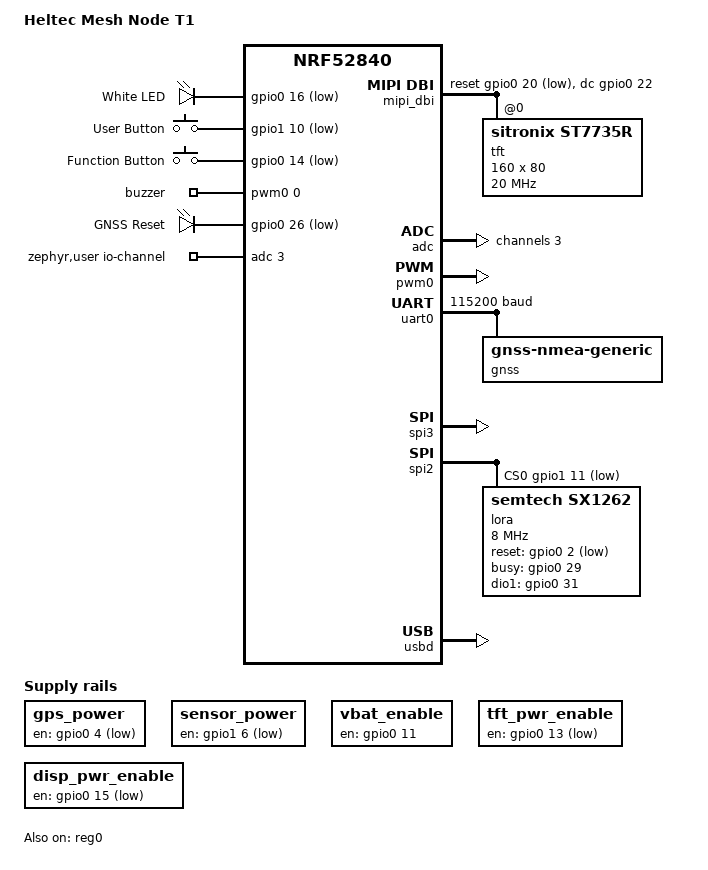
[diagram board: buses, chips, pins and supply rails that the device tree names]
/*
 * Heltec Mesh Node T1 - nRF52840 + SX1262 + UC6580 GNSS
 * Copyright (c) 2026 ZephCore
 *
 * SPDX-License-Identifier: MIT
 *
 * Every net named below is taken from the official Heltec
 * "Mesh_Node_T1_V1.0" schematic (resource.heltec.cn), cross-checked against
 * the "Mesh Node T1 Wireless Position Tag" datasheet Rev 1.0.0 and the
 * component datasheets for the parts the nets land on (ST7735S panel spec
 * N096-1608TBBIG09-C08, Diodes PAM8904, Semtech SX1262).  Where the two
 * Heltec documents disagree the schematic wins; the two places where that
 * happens are called out at the nodes concerned.
 */

/dts-v1/;
#include <nordic/nrf52840_qiaa.dtsi>
#include <zephyr/dt-bindings/lora/sx126x.h>
#include <zephyr/dt-bindings/adc/nrf-saadc.h>
#include <zephyr/dt-bindings/input/input-event-codes.h>
#include <zephyr/dt-bindings/pwm/pwm.h>
#include "heltec_t1_nrf52840-pinctrl.dtsi"

/ {
	model = "Heltec Mesh Node T1";
	compatible = "heltec,t1";

	chosen {
		zephyr,sram = &sram0;
		zephyr,flash = &flash0;
		zephyr,code-partition = &code_partition;
		zephyr,console = &cdc_acm_uart;
		zephyr,shell-uart = &cdc_acm_uart;
		zephyr,display = &mono_tft;
		zephcore,gps-power = &gps_power;
	};

	aliases {
		led0 = &led_white;
		lora-tx-led = &led_white;
		sw0 = &user_button;
		lora0 = &lora;
		watchdog0 = &wdt0;
		gps-reset = &gps_reset_pin;
		display0 = &tft;
		buzzer = &buzzer;
	};

	leds {
		compatible = "gpio-leds";

		/*
		 * Schematic net LED: P0.16 -> R56 1K -> gate of Q10 (AO3401A,
		 * P-channel, source on VDD_3V3), drain -> R30 330R -> LED2
		 * (white) -> GND.  Pulling the gate low turns the FET on, so
		 * the LED is active-LOW.
		 *
		 * The datasheet's "2.2 LED" table instead says the white LED is
		 * on P0.09.  That is wrong - P0.09 is the PAM8904 DIN (buzzer);
		 * the schematic, and every vendor firmware, put the LED on
		 * P0.16.
		 *
		 * Caveat for anyone chasing a boot-time glow: unlike the
		 * backlight FET, Q10's gate has no pull-up to its source, only
		 * R57 10M to ground.  While P0.16 is still an input the gate
		 * sits near 0 V and the LED is lit.  gpio-leds drives it
		 * inactive at init, which closes the window but does not remove
		 * it.
		 */
		led_white: led_0 {
			gpios = <&gpio0 16 GPIO_ACTIVE_LOW>;
			label = "White LED";
		};
	};

	buttons: buttons {
		compatible = "gpio-keys";

		/*
		 * Schematic S3 (silkscreen "User2"), net Button: P1.10 to GND,
		 * R8 10K pull-up to VDD_nRF, C8 0.1uF debounce.  The datasheet
		 * calls this one "Button1 / USER key".
		 */
		user_button: button_0 {
			gpios = <&gpio1 10 (GPIO_PULL_UP | GPIO_ACTIVE_LOW)>;
			zephyr,code = <INPUT_KEY_0>;
			label = "User Button";
		};

		/*
		 * Schematic S2 (silkscreen "User1"), net User: P0.14 to GND,
		 * R20 10K pull-up to VDD_3V3, C15 0.1uF debounce.  The
		 * datasheet calls this one "Button2 / Function key".
		 *
		 * Wired straight to KEY_LEFT: with two buttons the T1 can do
		 * page-previous, which the single-button Heltec boards cannot.
		 */
		page_prev_button: button_1 {
			gpios = <&gpio0 14 (GPIO_PULL_UP | GPIO_ACTIVE_LOW)>;
			zephyr,code = <INPUT_KEY_LEFT>;
			label = "Function Button";
		};
	};

	/* Input filter: user button long-press detection (1000ms) */
	user_btn_longpress: user_btn_longpress {
		compatible = "zephyr,input-longpress";
		input = <&buttons>;
		input-codes = <INPUT_KEY_0>;
		short-codes = <INPUT_KEY_A>;
		long-codes = <INPUT_KEY_ENTER>;
		long-delay-ms = <1000>;
	};

	/*
	 * Input filter: user button multi-tap detection.  Stock ladder - the
	 * T1 has a real buzzer, so the 3-tap notification-mode slot is live
	 * here (unlike T096, where it was compiled out and had to be dropped).
	 *
	 *   1 tap  (400ms wait) → KEY_1 = page next
	 *   2 taps (400ms wait) → KEY_B = LED heartbeat toggle
	 *   3 taps (400ms wait) → KEY_D = notification mode
	 *   4 taps (400ms wait) → KEY_C = GPS on/off
	 *   5 taps (immediate)  → KEY_E = flood advert
	 */
	user_btn_multitap {
		compatible = "zephcore,input-multi-tap";
		/* No 'input' phandle - KEY_A comes from the longpress
		 * pseudo-device, not from &buttons. */
		input-codes = <INPUT_KEY_A>;
		tap-codes = <INPUT_KEY_1 INPUT_KEY_B INPUT_KEY_D INPUT_KEY_C INPUT_KEY_E>;
		tap-delay-ms = <400>;
	};

	/*
	 * Schematic net DIN: P0.09 -> R24 0R -> PAM8904 (U3) pin 3.
	 *
	 * U3 is a charge-pump piezo driver, not a plain transistor: it drives
	 * the element differentially from VO1/VO2 through R14/R18 100R.  From
	 * the MCU's side it is still just a tone input - PAM8904 datasheet
	 * p.5 has the part idle at under 1uA whenever DIN is low, and
	 * auto-sleep 42ms after DIN stops toggling, so no enable sequencing is
	 * needed.
	 *
	 * P0.09 is NFC1.  See the &uicr node at the bottom of this file.
	 *
	 * The charge-pump multiplier pins EN1 (P1.02) and EN2 (P1.05) are
	 * deliberately left unconfigured: both carry 10K pull-ups to VDD_3V3,
	 * which selects 3x mode (7.2-9V out, the loudest setting) with no
	 * firmware involvement.  Driving them would only ever make the buzzer
	 * quieter, so they are documented in the README as a future volume
	 * control rather than claimed here.
	 */
	pwmbuzzer {
		compatible = "pwm-leds";
		buzzer: buzzer {
			pwms = <&pwm0 0 PWM_MSEC(20) PWM_POLARITY_NORMAL>;
		};
	};

	/*
	 * Schematic net VGNSS_Ctrl: P0.04 -> R32 1K -> gate of Q5 (AO3401A,
	 * P-channel, source on VDD_3V3, R54 10K gate pull-up), drain feeds
	 * VDD_GNSS.  Active-LOW, and off at reset while the pin is an input.
	 */
	gps_power: gps-power {
		compatible = "regulator-fixed";
		regulator-name = "gps-power";
		enable-gpios = <&gpio0 4 GPIO_ACTIVE_LOW>;
		regulator-boot-on;
		/* The module's requirement. It runs at boot (Zephyr 3b4821f1ba6,
		 * pinned from 1.17.5; it was skipped before), but nothing here
		 * depends on it: gnss-nmea-generic never
		 * probes the receiver — it attaches a UART and parses whatever
		 * arrives, so an unpowered module means no sentences yet, not a
		 * failed init. ZephyrGPSManager owns the rail at runtime via
		 * chosen { zephcore,gps-power }. */
		startup-delay-us = <10000>;
	};

	/* Schematic net GNSS_RST: P0.26 -> UC6580 pin 17 (RESETN), active-LOW,
	 * R37 10K pull-up to VDD_GNSS and C90 0.1uF. */
	gps_rst: gps-reset {
		compatible = "gpio-leds";
		gps_reset_pin: gps_reset {
			gpios = <&gpio0 26 GPIO_ACTIVE_LOW>;
			label = "GNSS Reset";
		};
	};

	/*
	 * Schematic net VSensor_Ctrl: P1.06 -> R31 1K -> gate of Q11 (AO3401A,
	 * P-channel, source on VDD_3V3, R23 10K gate pull-up) -> VDD_Sensor.
	 * Active-LOW.
	 *
	 * VDD_Sensor powers the ICM-42607-P, the MMC5983MA, the unpopulated U6
	 * pressure-sensor footprint, and the 4.7K pull-ups on the Sensor_SDA /
	 * Sensor_SCL bus.  ZephCore consumes none of those, so this node exists
	 * only to hold the rail off: with no consumer and no regulator-boot-on,
	 * regulator-fixed init drives P1.06 inactive and the rail stays down.
	 * That is what the datasheet's 11uA sleep figure assumes.
	 */
	sensor_power: sensor-power {
		compatible = "regulator-fixed";
		regulator-name = "sensor-power";
		enable-gpios = <&gpio1 6 GPIO_ACTIVE_LOW>;
	};

	/*
	 * Schematic net ADC_Ctrl: P0.11 -> R7 1K -> base of Q2 (S9013 NPN,
	 * R12 10K base pulldown); Q2's collector pulls the gate of Q1
	 * (AO3401A, source on VBAT, R5 10K gate pull-up) low, switching VBAT
	 * into the R11 390K / R16 100K divider.  Active-HIGH.
	 */
	vbat_enable: vbat-enable {
		compatible = "regulator-fixed";
		regulator-name = "vbat-enable";
		enable-gpios = <&gpio0 11 GPIO_ACTIVE_HIGH>;
	};

	/*
	 * Schematic net VScreen_Ctrl: P0.13 -> R26 1K -> gate of Q6 (AO3401A,
	 * P-channel, source on VDD_3V3, R52 10K gate pull-up) -> VDD_Screen,
	 * which is FFC pin 7 (VDD).  Active-LOW.
	 *
	 * Meshtastic's variant.h comments this net as "Active HIGH".  That
	 * comment is wrong - Q6 is a P-channel FET with its gate pulled to its
	 * own source - and Heltec's nRF52 Arduino variant agrees with the
	 * schematic (TFT_VDD_ENABLE = 0).
	 */
	tft_pwr_enable: tft-pwr-enable {
		compatible = "regulator-fixed";
		regulator-name = "tft-pwr-enable";
		enable-gpios = <&gpio0 13 GPIO_ACTIVE_LOW>;
		regulator-boot-on;
		/* The panel's requirement. It runs at boot (Zephyr 3b4821f1ba6,
		 * pinned from 1.17.5; it was skipped before), but do not rely on
		 * it alone: the real settle time comes from the ST7735R
		 * driver's own mipi_dbi_reset() + exit-sleep delay, at
		 * DISPLAY_INIT_PRIORITY 85 against this rail's 75. */
		startup-delay-us = <10000>;
	};

	/*
	 * Schematic net LED_K: P0.15 -> R28 1K -> gate of Q9 (AO3401A,
	 * P-channel, source on VDD_3V3, R27 10K gate pull-up), drain ->
	 * R55 22R -> FFC pin 1 (LEDA).  Active-LOW, off at reset.
	 *
	 * The net name is a misnomer inherited from other Heltec boards: the
	 * N096-1608TBBIG09-C08 only brings the backlight *anode* out to the
	 * FFC (panel spec section 3), so Q9 switches the high side.
	 *
	 * Note the FET source is VDD_3V3, not VDD_Screen - the backlight does
	 * not follow the panel rail and has to be switched off in its own
	 * right.
	 */
	disp_pwr_enable: disp-pwr-enable {
		compatible = "regulator-fixed";
		regulator-name = "disp-pwr-enable";
		enable-gpios = <&gpio0 15 GPIO_ACTIVE_LOW>;
	};

	/*
	 * Monochrome wrapper around the ST7735S-compatible TFT.
	 * Reports PIXEL_FORMAT_MONO01 to CFB and converts rows to RGB565.
	 */
	mono_tft: mono-tft {
		compatible = "zephcore,mono-tft";
		tft-dev = <&tft>;
		width = <160>;
		height = <80>;
	};

	/*
	 * MIPI-DBI SPI bus for the 0.96" TFT.
	 *
	 * Panel is an Unvision N096-1608TBBIG09-C08: 80(H)RGB x 160(V),
	 * 10.8 x 21.7 mm active area, normally black, 4-line SPI, ST7735S
	 * driver IC, single white LED backlight (panel spec sections 1.2
	 * and 3).
	 *
	 * Schematic nets, all on the 8-pin FFC U18:
	 * - CS    -> P0.12, FFC pin 8
	 * - RS    -> P0.22, FFC pin 4, data/command
	 * - SDIN  -> P0.24, FFC pin 5 (SDA)
	 * - SCLK  -> P1.00, FFC pin 6 (SCL)
	 * - RES   -> P0.20, FFC pin 3, active-LOW reset
	 *
	 * The FFC carries no data-out line, hence write-only.
	 */
	mipi_dbi {
		compatible = "zephyr,mipi-dbi-spi";
		spi-dev = <&spi3>;
		dc-gpios = <&gpio0 22 GPIO_ACTIVE_HIGH>;
		reset-gpios = <&gpio0 20 GPIO_ACTIVE_LOW>;
		write-only;
		#address-cells = <1>;
		#size-cells = <0>;

		tft: st7735s@0 {
			compatible = "sitronix,st7735r";
			mipi-max-frequency = <20000000>;
			mipi-mode = "MIPI_DBI_MODE_SPI_4WIRE";
			reg = <0>;
			width = <160>;
			height = <80>;
			/* No inversion-on: the mono_tft wrapper writes 0xFFFF for a lit
			 * pixel and 0x0000 for background, so INV_ON paints a light
			 * background with dark text.  The UI is drawn light-on-dark. */

			/*
			 * Landscape, rotated 180 degrees from the T096 mounting
			 * of the same panel class.  MADCTL 0x68 = MX | MV | BGR,
			 * against 0xa8 = MY | MV | BGR there.  The offsets are
			 * the pair that belongs to this glass bonding (the
			 * "red tab 160x80" column start of 24, row start of 0,
			 * transposed by MV).
			 *
			 * If the first hardware run shows the image shifted with
			 * a black band on one edge, the alternative offsets for
			 * the mirrored orientation are x-offset 2 / y-offset 28,
			 * caset [00 02 00 a1], raset [00 1c 00 6b].
			 */
			x-offset = <0>;
			y-offset = <24>;
			madctl = <0x68>;
			colmod = <0x05>;
			invctr = <7>;
			vmctr1 = <0x0e>;
			pwctr1 = [a2 02 84];
			pwctr2 = [c1];
			pwctr3 = [0a 00];
			pwctr4 = [8a 2a];
			pwctr5 = [8a ee];
			frmctr1 = [01 26 2e];
			frmctr2 = [01 26 2e];
			frmctr3 = [01 26 2e 01 26 2e];
			gamctrp1 = [0f 1a 0f 18 2f 28 20 22 1f 1b 23 37 00 07 02 10];
			gamctrn1 = [0f 1b 0f 17 33 2c 29 2e 30 2e 30 3b 00 07 03 10];
			caset = [00 00 00 9f];
			raset = [00 18 00 67];
		};
	};

	zephyr,user {
		io-channels = <&adc 3>;
		/*
		 * Schematic: BAT_ADC on P0.05/AIN3, divider R11=390K high side
		 * and R16=100K low side -> 4.9:1.  With ADC_GAIN_1_6 and the
		 * internal 0.6V reference, full-scale is 3600 mV, so the
		 * nominal multiplier is 3600 * 4.9 = 17640; the value below
		 * carries the same +0.5% nRF SAADC gain-error correction used
		 * on the other ZephCore nRF52 boards.
		 */
		vbat-mv-multiplier = <17728>;
	};
};

&reg0 {
	status = "okay";
};

&reg1 {
	regulator-initial-mode = <NRF5X_REG_MODE_DCDC>;
};

&adc {
	status = "okay";
	#address-cells = <1>;
	#size-cells = <0>;

	channel@3 {
		reg = <3>;
		zephyr,gain = "ADC_GAIN_1_6";
		zephyr,reference = "ADC_REF_INTERNAL";
		zephyr,acquisition-time = <ADC_ACQ_TIME(ADC_ACQ_TIME_MICROSECONDS, 10)>;
		zephyr,input-positive = <NRF_SAADC_AIN3>;
		zephyr,resolution = <12>;
	};
};

/*
 * P0.09 (PAM8904 DIN) and P0.10 (Sensor_SCL) are the nRF52840's NFC antenna
 * pins.  UICR.NFCPINS has to select GPIO or neither pin can be driven.
 *
 * Stock boards already have this programmed by the factory Adafruit UF2
 * bootloader, so a UF2 install needs nothing extra; a board that has been
 * fully erased over SWD does, and this property is what puts it back.
 */
&uicr {
	nfct-pins-as-gpios;
};

&gpiote {
	status = "okay";
};

&gpio0 {
	status = "okay";
};

&gpio1 {
	status = "okay";
};

&pwm0 {
	status = "okay";
	pinctrl-0 = <&pwm0_default>;
	pinctrl-1 = <&pwm0_sleep>;
	pinctrl-names = "default", "sleep";
};

/*
 * The Sensor_SDA (P1.03) / Sensor_SCL (P0.10) bus is left disabled on
 * purpose - see the sensor_power node above.  To bring it up, enable
 * &i2c0 with a pinctrl pair for those two pins and give sensor_power a
 * regulator-boot-on; without the rail the 4.7K pull-ups are unpowered and
 * the bus cannot work.
 */

/* UC6580 GNSS - 115200 baud, plain NMEA stream, no command handshake. */
&uart0 {
	compatible = "nordic,nrf-uarte";
	status = "okay";
	current-speed = <115200>;
	pinctrl-0 = <&uart0_default>;
	pinctrl-1 = <&uart0_sleep>;
	pinctrl-names = "default", "sleep";

	gnss: gnss {
		compatible = "gnss-nmea-generic";
	};
};

/* SPI3 - ST7735S 0.96" 160x80 TFT display */
&spi3 {
	compatible = "nordic,nrf-spim";
	status = "okay";
	pinctrl-0 = <&spi3_default>;
	pinctrl-1 = <&spi3_sleep>;
	pinctrl-names = "default", "sleep";
	cs-gpios = <&gpio0 12 GPIO_ACTIVE_LOW>; /* Schematic net CS */
};

/* SPI2 - SX1262 LoRa radio */
&spi2 {
	compatible = "nordic,nrf-spim";
	status = "okay";
	cs-gpios = <&gpio1 11 GPIO_ACTIVE_LOW>;  /* Schematic net LOAR_NSS */
	pinctrl-0 = <&spi2_default>;
	pinctrl-1 = <&spi2_sleep>;
	pinctrl-names = "default", "sleep";

	lora: lora@0 {
		compatible = "semtech,sx1262";
		reg = <0>;
		spi-max-frequency = <8000000>;

		reset-gpios = <&gpio0 2 GPIO_ACTIVE_LOW>;   /* LOAR_NRSET */
		busy-gpios = <&gpio0 29 GPIO_ACTIVE_HIGH>;  /* LORA_BUSY */
		dio1-gpios = <&gpio0 31 (GPIO_PULL_DOWN | GPIO_ACTIVE_HIGH)>; /* DIO1 */

		/*
		 * There is no FEM on this board.  The SX1262's RFO (pin 23) and
		 * RFI_P/RFI_N (pins 21/22) run as separate matched paths into a
		 * uPG2179 SPDT switch (U13), whose Vcont1 is driven straight
		 * from schematic net ANT_SW_CTRL = SX1262 DIO2 (pin 12) and
		 * whose Vcont2 is the complement produced by Q8 (2SC3356).  So
		 * the chip switches its own antenna path and no MCU GPIO is
		 * involved: dio2-tx-enable, and no antenna-enable-gpios or
		 * lna-bypass-gpios.
		 */
		dio2-tx-enable;

		/*
		 * X3 is a 32 MHz TCXO whose supply comes from DIO3 through
		 * FB2 (10R@100MHz).  1.8V per Heltec's own Arduino variant
		 * (SX126X_DIO3_TCXO_VOLTAGE 1.8).
		 */
		dio3-tcxo-voltage = <SX126X_DIO3_TCXO_1V8>;
		tcxo-power-startup-delay-ms = <5>;
		rx-boosted;
	};
};

/* No external SPI/QSPI flash on this board - storage is internal only. */
&qspi {
	status = "disabled";
};

zephyr_udc0: &usbd {
	compatible = "nordic,nrf-usbd";
	status = "okay";

	cdc_acm_uart: cdc_acm_uart {
		compatible = "zephyr,cdc-acm-uart";
	};
};

/* SoftDevice s140 v6.1.1 flash layout (app@0x26000, bootloader@0xF4000) */
#include "../../common/nrf52_partitions_sdv6.dtsi"
#include "../../common/nrf52_wakeup.dtsi"
